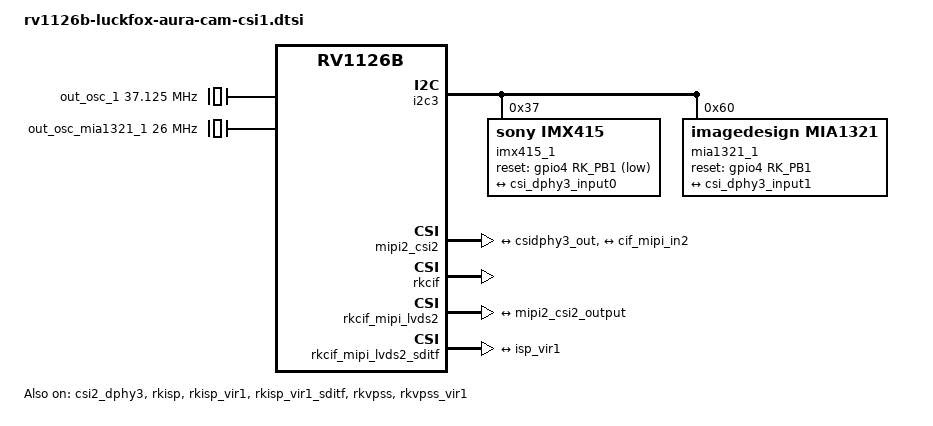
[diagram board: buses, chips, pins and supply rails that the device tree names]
// SPDX-License-Identifier: (GPL-2.0+ OR MIT)
/*
 * Copyright (c) 2025 Rockchip Electronics Co., Ltd.
 *
 */

/*
 * csi2_dphy0 -> csi0(rx0) clk0 + 4 lane
 * csi2_dphy1 -> csi0(rx0) clk0 + 2 lane 0/1
 * csi2_dphy2 -> csi0(rx0) clk1 + 2 lane 2/3
 * csi2_dphy3 -> csi1(rx1) clk0 + 4 lane
 * csi2_dphy4 -> csi1(rx1) clk0 + 2 lane 0/1
 * csi2_dphy5 -> csi1(rx1) clk1 + 2 lane 2/3
 */

/ {
	cam_ircut1: cam_ircut1 {
		status = "okay";
		compatible = "rockchip,ircut";
		// led-gpios = <&gpio4 RK_PA1 GPIO_ACTIVE_LOW>;
		// ircut-open-gpios = <&gpio4 RK_PC6 GPIO_ACTIVE_HIGH>;
		// ircut-close-gpios  = <&gpio4 RK_PC7 GPIO_ACTIVE_HIGH>;
		rockchip,camera-module-index = <1>;
		rockchip,camera-module-facing = "back";
	};

	out_osc_1: out-osc-1 {
		compatible = "fixed-clock";
		clock-output-names = "out-osc-1";
		clock-frequency = <37125000>;
		#clock-cells = <0>;
	};

	out_osc_mia1321_1: out-osc-mia1321-1 {
		compatible = "fixed-clock";
		clock-output-names = "out-osc-mia1321-1";
		clock-frequency = <26000000>;
		#clock-cells = <0>;
	};
};

&csi2_dphy3 {
	status = "okay";

	ports {
		#address-cells = <1>;
		#size-cells = <0>;
		port@0 {
			reg = <0>;
			#address-cells = <1>;
			#size-cells = <0>;

			csi_dphy3_input0: endpoint@1 {
				reg = <1>;
				remote-endpoint = <&imx415_1_out>;
				data-lanes = <1 2 3 4>;
			};

			csi_dphy3_input1: endpoint@2 {
				reg = <2>;
				remote-endpoint = <&mia1321_1_out>;
				data-lanes = <1 2>;
			};
		};
		port@1 {
			reg = <1>;
			#address-cells = <1>;
			#size-cells = <0>;

			csidphy3_out: endpoint@0 {
				reg = <0>;
				remote-endpoint = <&mipi2_csi2_input>;
			};
		};
	};
};

&i2c3 {
	status = "okay";
	pinctrl-0 = <&i2c3m1_pins>;

	imx415_1: imx415_1@37 {
		compatible = "sony,imx415";
		reg = <0x37>;
		clocks = <&out_osc_1>;
		clock-names = "xvclk";
		reset-gpios = <&gpio4 RK_PB1 GPIO_ACTIVE_LOW>;
		pinctrl-names = "default";
		pinctrl-0 = <&cam_1_reset_gpio>;
		rockchip,camera-module-index = <0>;
		rockchip,camera-module-facing = "back";
		rockchip,camera-module-name = "default";
		rockchip,camera-module-lens-name = "default";
		lens-focus = <&cam_ircut1>;
		port {
			imx415_1_out: endpoint {
				remote-endpoint = <&csi_dphy3_input0>;
				data-lanes = <1 2 3 4>;
			};
		};
	};

	mia1321_1: mia1321_1@60 {
		compatible = "imagedesign,mia1321";
		reg = <0x60>;
		clocks = <&out_osc_mia1321_1>;
		clock-names = "xvclk";
		reset-gpios = <&gpio4 RK_PB1 GPIO_ACTIVE_HIGH>;
		pinctrl-names = "default";
		pinctrl-0 = <&cam_1_reset_gpio>;
		rockchip,camera-module-index = <0>;
		rockchip,camera-module-facing = "back";
		rockchip,camera-module-name = "default";
		rockchip,camera-module-lens-name = "default";
		port {
				mia1321_1_out: endpoint {
					remote-endpoint = <&csi_dphy3_input1>;
					data-lanes = <1 2>;
				};
		};
	};
};

&pinctrl {
	cam_1 {
		cam_1_reset_gpio: cam-1-reset-gpio {
			rockchip,pins = <4 RK_PB1 RK_FUNC_GPIO &pcfg_pull_up>;
		};
	};
};

&mipi2_csi2 {
	status = "okay";

	ports {
		#address-cells = <1>;
		#size-cells = <0>;

		port@0 {
			reg = <0>;
			#address-cells = <1>;
			#size-cells = <0>;

			mipi2_csi2_input: endpoint@1 {
				reg = <1>;
				remote-endpoint = <&csidphy3_out>;
			};
		};

		port@1 {
			reg = <1>;
			#address-cells = <1>;
			#size-cells = <0>;

			mipi2_csi2_output: endpoint@0 {
				reg = <0>;
				remote-endpoint = <&cif_mipi_in2>;
			};
		};
	};
};

&rkcif {
	status = "okay";
};

&rkcif_mipi_lvds2 {
	status = "okay";

	port {
		cif_mipi_in2: endpoint {
			remote-endpoint = <&mipi2_csi2_output>;
		};
	};
};

&rkcif_mipi_lvds2_sditf {
	status = "okay";

	port {
		mipi_lvds2_sditf: endpoint {
			remote-endpoint = <&isp_vir1>;
		};
	};
};

&rkcif_mmu {
	status = "okay";
};

&rkisp {
	status = "okay";
};

&rkisp_mmu {
	status = "okay";
};

&rkisp_vir1 {
	status = "okay";

	port {
		#address-cells = <1>;
		#size-cells = <0>;

		isp_vir1: endpoint@0 {
			reg = <0>;
			remote-endpoint = <&mipi_lvds2_sditf>;
		};
	};
};

&rkisp_vir1_sditf {
	status = "okay";
};

&rkvpss {
	status = "okay";
	dvbm = <&rkdvbm>;
};

&rkvpss_mmu {
	status = "okay";
};

&rkvpss_vir1 {
	status = "okay";
};
